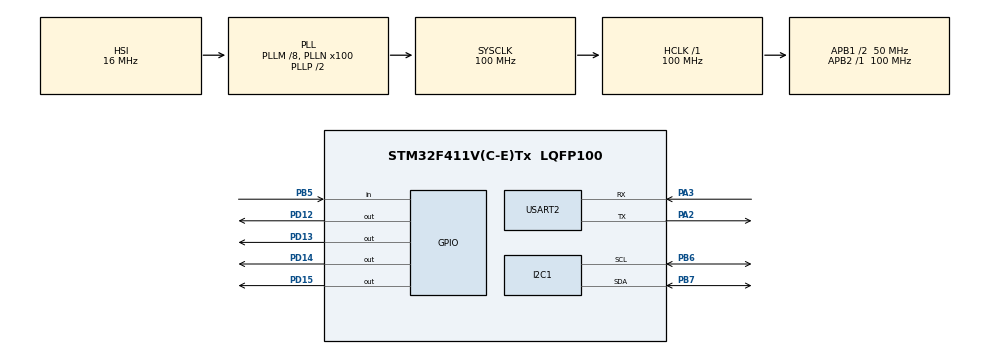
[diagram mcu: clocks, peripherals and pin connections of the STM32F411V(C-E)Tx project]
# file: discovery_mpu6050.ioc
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I2C1.I2C_Mode=I2C_Fast
Mcu.Family=STM32F4
Mcu.Name=STM32F411V(C-E)Tx
Mcu.Package=LQFP100
NVIC.PriorityGroup=NVIC_PRIORITYGROUP_4
NVIC.USART2_IRQn=true\:0\:0\:false\:false\:true\:true\:true
PA13.Mode=Serial_Wire
PA13.Signal=SYS_JTMS-SWDIO
PA14.Mode=Serial_Wire
PA14.Signal=SYS_JTCK-SWCLK
PA2.Mode=Asynchronous
PA2.Signal=USART2_TX
PA3.Mode=Asynchronous
PA3.Signal=USART2_RX
PB5.Signal=GPIO_Input
PB6.Mode=I2C
PB6.Signal=I2C1_SCL
PB7.Mode=I2C
PB7.Signal=I2C1_SDA
PD12.Signal=GPIO_Output
PD13.Signal=GPIO_Output
PD14.Signal=GPIO_Output
PD15.Signal=GPIO_Output
PH0\ -\ OSC_IN.Mode=HSE-External-Oscillator
PH0\ -\ OSC_IN.Signal=RCC_OSC_IN
PH1\ -\ OSC_OUT.Mode=HSE-External-Oscillator
PH1\ -\ OSC_OUT.Signal=RCC_OSC_OUT
ProjectManager.HeapSize=0x200
ProjectManager.StackSize=0x400
ProjectManager.TargetToolchain=STM32CubeIDE
RCC.48MHZClocksFreq_Value=50000000
RCC.AHBFreq_Value=100000000
RCC.APB1CLKDivider=RCC_HCLK_DIV2
RCC.APB1Freq_Value=50000000
RCC.APB1TimFreq_Value=100000000
RCC.APB2Freq_Value=100000000
RCC.APB2TimFreq_Value=100000000
RCC.CortexFreq_Value=100000000
RCC.HCLKFreq_Value=100000000
RCC.HSE_VALUE=8000000
RCC.HSI_VALUE=16000000
RCC.LSE_VALUE=32768
RCC.PLLM=8
RCC.PLLN=100
RCC.SYSCLKFreq_VALUE=100000000
RCC.SYSCLKSource=RCC_SYSCLKSOURCE_PLLCLK
RCC.VCOOutputFreq_Value=200000000
USART2.VirtualMode=VM_ASYNC
board=custom

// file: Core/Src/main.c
/* USER CODE BEGIN Header */
/**
 ******************************************************************************
 * @file           : main.c
 * @brief          : Main program body
 ******************************************************************************
 * @attention
 *
 * Copyright (c) 2023 STMicroelectronics.
 * All rights reserved.
 *
 * This software is licensed under terms that can be found in the LICENSE file
 * in the root directory of this software component.
 * If no LICENSE file comes with this software, it is provided AS-IS.
 *
 ******************************************************************************
 */
/* USER CODE END Header */
#include "main.h"
#include "i2c.h"
#include "usart.h"
#include "gpio.h"

/* USER CODE BEGIN Includes */
#include "LED.h"
#include "MPU6050.h"
/* USER CODE END Includes */

/* USER CODE BEGIN PTD */
int _write(int file, uint8_t* p, int len)
{
	if(HAL_UART_Transmit(&huart2, p, len, len) == HAL_OK )
	{
		return len;
	}
	return 0;
}

/* USER CODE END PTD */

/* USER CODE BEGIN PV */
uint8_t uart2_rx_data = 0;
uint8_t uart2_rx_flag = 0;
/* USER CODE END PV */

void SystemClock_Config(void);

int main(void)
{

  /* MCU Configuration--------------------------------------------------------*/

  /* Reset of all peripherals, Initializes the Flash interface and the Systick. */
  HAL_Init();

  /* Configure the system clock */
  SystemClock_Config();

  /* Initialize all configured peripherals */
  MX_GPIO_Init();
  MX_USART2_UART_Init();
  MX_I2C1_Init();
  /* USER CODE BEGIN 2 */

  HAL_UART_Receive_IT(&huart2, &uart2_rx_data, 1);

	if(MPU6050_Initialization() == 1)
	{
		while(1)
		{
			HAL_GPIO_TogglePin(LED_BLUE_PORT, LED_BLUE_PIN);
			HAL_Delay(100);
		}
	}
	for(int i=0;i<6;i++)
	{
		HAL_GPIO_TogglePin(LED_BLUE_PORT, LED_BLUE_PIN|LED_GREEN_PIN|LED_ORANGE_PIN|LED_RED_PIN);
		HAL_Delay(300);
	}
  /* USER CODE END 2 */

  /* Infinite loop */
	while (1)
	{

    /* USER CODE BEGIN 3 */
//		if(uart2_rx_flag == 1)
//		{
//			uart2_rx_flag = 0;
//			HAL_UART_Transmit(&huart2, &uart2_rx_data, sizeof(uart2_rx_data), 1);
//		}

		if(MPU6050_DataReady() == 1)
		{
			MPU6050_Get6AxisRawData(&MPU6050);
			MPU6050_DataConvert(&MPU6050);
			printf("%f, %f, %f\n", MPU6050.acc_x, MPU6050.acc_y, MPU6050.acc_z);
//			printf("%f, %f, %f\n", MPU6050.gyro_x, MPU6050.gyro_y, MPU6050.gyro_z);
//			printf("%d, %d, %d\n", MPU6050.acc_x_raw, MPU6050.acc_y_raw, MPU6050.acc_z_raw);
		}

	}
  /* USER CODE END 3 */
}

void SystemClock_Config(void)
{
  RCC_OscInitTypeDef RCC_OscInitStruct = {0};
  RCC_ClkInitTypeDef RCC_ClkInitStruct = {0};

  /** Configure the main internal regulator output voltage
  */
  __HAL_RCC_PWR_CLK_ENABLE();
  __HAL_PWR_VOLTAGESCALING_CONFIG(PWR_REGULATOR_VOLTAGE_SCALE1);
  /** Initializes the RCC Oscillators according to the specified parameters
  * in the RCC_OscInitTypeDef structure.
  */
  RCC_OscInitStruct.OscillatorType = RCC_OSCILLATORTYPE_HSI;
  RCC_OscInitStruct.HSIState = RCC_HSI_ON;
  RCC_OscInitStruct.HSICalibrationValue = RCC_HSICALIBRATION_DEFAULT;
  RCC_OscInitStruct.PLL.PLLState = RCC_PLL_ON;
  RCC_OscInitStruct.PLL.PLLSource = RCC_PLLSOURCE_HSI;
  RCC_OscInitStruct.PLL.PLLM = 8;
  RCC_OscInitStruct.PLL.PLLN = 100;
  RCC_OscInitStruct.PLL.PLLP = RCC_PLLP_DIV2;
  RCC_OscInitStruct.PLL.PLLQ = 4;
  if (HAL_RCC_OscConfig(&RCC_OscInitStruct) != HAL_OK)
  {
    Error_Handler();
  }
  /** Initializes the CPU, AHB and APB buses clocks
  */
  RCC_ClkInitStruct.ClockType = RCC_CLOCKTYPE_HCLK|RCC_CLOCKTYPE_SYSCLK
                              |RCC_CLOCKTYPE_PCLK1|RCC_CLOCKTYPE_PCLK2;
  RCC_ClkInitStruct.SYSCLKSource = RCC_SYSCLKSOURCE_PLLCLK;
  RCC_ClkInitStruct.AHBCLKDivider = RCC_SYSCLK_DIV1;
  RCC_ClkInitStruct.APB1CLKDivider = RCC_HCLK_DIV2;
  RCC_ClkInitStruct.APB2CLKDivider = RCC_HCLK_DIV1;

  if (HAL_RCC_ClockConfig(&RCC_ClkInitStruct, FLASH_LATENCY_3) != HAL_OK)
  {
    Error_Handler();
  }
}

/* USER CODE BEGIN 4 */
void HAL_UART_RxCpltCallback(UART_HandleTypeDef *huart)
{
	 if (huart->Instance == USART2)
	  {
	      HAL_UART_Receive_IT(&huart2, &uart2_rx_data, 1);
	      uart2_rx_flag = 1;
	  }
}
/* USER CODE END 4 */

void Error_Handler(void)
{
	__disable_irq();
	while (1)
	{
	}
}
